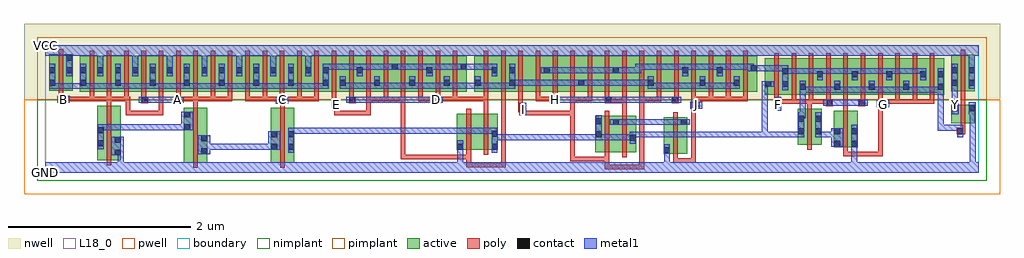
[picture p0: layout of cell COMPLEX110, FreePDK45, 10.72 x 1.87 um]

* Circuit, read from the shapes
.subckt COMPLEX110 A B C D E F G GND H I J VCC Y
M1 GND B n1 VSUBS nfet w=0.6u l=0.05u
M2 n2 A n1 VSUBS nfet w=0.6u l=0.05u
M3 n3 C n2 VSUBS nfet w=0.6u l=0.05u
M4 n4 E GND VSUBS nfet w=0.4u l=0.05u
M5 n3 D n4 VSUBS nfet w=0.4u l=0.05u
M6 n5 I n3 VSUBS nfet w=0.4u l=0.05u
M7 n3 H n5 VSUBS nfet w=0.4u l=0.05u
M8 n5 J GND VSUBS nfet w=0.4u l=0.05u
M9 n6 F n3 VSUBS nfet w=0.4u l=0.05u
M10 GND G n6 VSUBS nfet w=0.4u l=0.05u
M11 GND n3 Y VSUBS nfet w=0.2u l=0.05u
M12 VCC B n7 n8 pfet w=0.4u l=0.05u m=5
M13 n7 A VCC n8 pfet w=0.4u l=0.05u m=5
M14 n7 C VCC n8 pfet w=0.4u l=0.05u m=5
M15 n9 E n7 n8 pfet w=0.4u l=0.05u m=5
M16 n7 D n9 n8 pfet w=0.4u l=0.05u m=5
M17 n10 I n9 n8 pfet w=0.4u l=0.05u
M18 n11 H n10 n8 pfet w=0.4u l=0.05u
M19 n12 H n11 n8 pfet w=0.4u l=0.05u
M20 n9 I n12 n8 pfet w=0.4u l=0.05u
M21 n13 I n9 n8 pfet w=0.4u l=0.05u
M22 n11 H n13 n8 pfet w=0.4u l=0.05u
M23 n14 H n11 n8 pfet w=0.4u l=0.05u
M24 n9 I n14 n8 pfet w=0.4u l=0.05u
M25 n15 I n9 n8 pfet w=0.4u l=0.05u
M26 n11 H n15 n8 pfet w=0.4u l=0.05u
M27 n9 J n11 n8 pfet w=0.4u l=0.05u m=4
M28 n11 F n3 n8 pfet w=0.4u l=0.05u m=5
M29 n11 G n3 n8 pfet w=0.4u l=0.05u m=5
M30 VCC n3 Y n8 pfet w=0.4u l=0.05u
.ends

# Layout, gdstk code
import gdstk
lib = gdstk.Library(unit=1e-6, precision=1e-09)
def R(c, l, rs):  # rectangles x0, y0, x1, y1
    for r in rs: c.add(gdstk.rectangle(r[:2], r[2:], *l))
def A(c, l, x, y, w, h, nx, ny, dx, dy):  # array of equal rectangles
    R(c, l, [(x+i*dx, y+j*dy, x+i*dx+w, y+j*dy+h) for i in range(nx) for j in range(ny)])
active = (1, 0)
pwell = (2, 0)
nwell = (3, 0)
nimplant = (4, 0)
pimplant = (5, 0)
poly = (9, 0)
contact = (10, 0)
metal1 = (11, 0)
L18_0 = (18, 0)
boundary = (235, 0)

complex110 = lib.new_cell('COMPLEX110')
A(complex110, active, 7.9, 0.855, 0.265, 0.4, 8, 1, 0.19, 0)
A(complex110, active, 7.9, 0.855, 0.075, 0.215, 5, 1, 0.38, 0)
A(complex110, active, 8.47, 0.862, 0.075, 0.338, 3, 1, 0.38, 0)
A(complex110, active, 0.38, 0.887, 0.26, 0.4, 4, 1, 0.95, 0)
A(complex110, active, 0.565, 0.887, 0.27, 0.4, 3, 1, 0.95, 0)
A(complex110, active, 0.76, 0.887, 0.265, 0.4, 3, 1, 0.19, 0)
A(complex110, active, 1.71, 0.887, 0.265, 0.4, 3, 1, 0.19, 0)
A(complex110, active, 2.66, 0.887, 0.265, 0.4, 3, 1, 0.19, 0)
A(complex110, active, 3.8, 0.887, 0.265, 0.4, 3, 1, 0.19, 0)
A(complex110, active, 5.09, 0.887, 0.225, 0.4, 3, 1, 0.38, 0)
R(complex110, active, [(1.52,0.112,1.78,0.712), (2.475,0.112,2.735,0.712), (0.57,0.137,0.83,0.737), (0.755,0.137,0.83,0.737), (0.57,0.145,0.645,0.737), (1.52,0.145,1.595,0.712), (1.705,0.145,1.78,0.712), (2.475,0.145,2.55,0.712), (2.66,0.145,2.735,0.712), (6.79,0.21,7.05,0.61), (6.79,0.21,6.865,0.537), (6.04,0.225,6.115,0.625), (6.04,0.225,6.305,0.625), (6.23,0.225,6.49,0.625), (6.415,0.225,6.49,0.617), (4.52,0.25,4.745,0.65), (4.52,0.25,4.595,0.537), (4.745,0.25,4.97,0.65), (4.895,0.25,4.97,0.65), (8.66,0.28,8.735,0.68), (8.66,0.28,8.92,0.68), (8.845,0.28,8.92,0.68), (8.265,0.305,8.34,0.705), (8.265,0.305,8.525,0.705), (8.45,0.305,8.525,0.705), (6.975,0.322,7.05,0.61), (6.23,0.33,6.305,0.625), (9.95,0.545,10.025,0.745), (9.95,0.545,10.21,0.745), (10.135,0.545,10.21,0.745), (8.09,0.855,8.165,1.2), (9.42,0.855,9.68,1.255), (9.605,0.855,9.87,1.255), (9.605,0.855,9.68,1.2), (9.795,0.855,9.87,1.2), (0.38,0.887,0.455,1.2), (0.565,0.887,0.64,1.287), (0.76,0.887,0.835,1.2), (0.95,0.887,1.025,1.287), (1.33,0.887,1.405,1.287), (1.515,0.887,1.59,1.2), (1.71,0.887,1.785,1.267), (1.9,0.887,1.975,1.2), (2.09,0.887,2.165,1.267), (2.28,0.887,2.355,1.2), (2.85,0.887,2.925,1.267), (3.04,0.887,3.115,1.2), (3.23,0.887,3.305,1.07), (3.415,0.887,3.68,1.287), (3.415,0.887,3.49,1.2), (3.605,0.887,3.875,1.287), (3.8,0.887,3.875,1.2), (3.99,0.887,4.065,1.07), (4.18,0.887,4.255,1.2), (4.37,0.887,4.63,1.287), (4.37,0.887,4.445,1.07), (4.555,0.887,4.63,1.2), (4.71,0.887,4.97,1.287), (4.71,0.887,4.785,1.07), (4.895,0.887,4.97,1.2), (4.895,0.887,5.165,1.287), (5.09,0.887,5.165,1.2), (5.315,0.887,5.545,1.287), (5.47,0.887,5.545,1.2), (5.695,0.887,5.925,1.287), (5.85,0.887,5.925,1.07), (6.075,0.887,6.3,1.287), (6.225,0.887,6.455,1.287), (6.455,0.887,6.685,1.287), (6.61,0.887,6.835,1.287), (6.61,0.887,6.685,1.07), (6.835,0.887,7.065,1.287), (6.99,0.887,7.255,1.287), (7.18,0.887,7.445,1.287), (7.18,0.887,7.255,1.07), (7.37,0.887,7.63,1.287), (7.37,0.887,7.445,1.2), (7.555,0.887,7.82,1.287), (7.555,0.887,7.63,1.07), (7.745,0.887,7.82,1.2), (9.95,0.895,10.21,1.295), (9.95,0.895,10.025,1.2), (10.135,0.895,10.21,1.255), (0.04,0.902,0.3,1.302), (0.04,0.902,0.115,1.2), (0.225,0.902,0.3,1.302), (1.14,0.907,1.215,1.2), (2.465,0.907,2.54,1.267), (2.66,0.907,2.735,1.2), (3.605,0.907,3.68,1.07), (6.225,0.907,6.3,1.2), (6.99,0.907,7.065,1.2)])
R(complex110, pwell, [(-0.235,-0.235,10.485,0.8)])
R(complex110, nwell, [(-0.235,0.8,10.485,1.635)])
R(complex110, nimplant, [(-0.09,-0.09,10.34,0.8)])
R(complex110, pimplant, [(-0.09,0.8,10.34,1.49)])
A(complex110, poly, 8.005, 0.755, 0.05, 0.095, 10, 1, 0.19, 0)
A(complex110, poly, 0.485, 0.787, 0.05, 0.095, 4, 1, 0.19, 0)
A(complex110, poly, 1.435, 0.787, 0.05, 0.095, 9, 1, 0.19, 0)
A(complex110, poly, 2.005, 0.787, 0.05, 0.05, 3, 1, 0.19, 0)
A(complex110, poly, 3.335, 0.787, 0.05, 0.095, 7, 1, 0.19, 0)
A(complex110, poly, 5.385, 0.787, 0.05, 0.095, 5, 1, 0.19, 0)
A(complex110, poly, 5.765, 0.787, 0.24, 0.05, 3, 1, 0.76, 0)
A(complex110, poly, 6.525, 0.787, 0.05, 0.095, 7, 1, 0.19, 0)
A(complex110, poly, 8.005, 0.8, 0.05, 0.51, 10, 1, 0.19, 0)
A(complex110, poly, 0.485, 0.832, 0.05, 0.51, 22, 1, 0.19, 0)
A(complex110, poly, 4.815, 0.832, 0.05, 0.51, 16, 1, 0.19, 0)
R(complex110, poly, [(6.145,0.037,6.442,0.087), (6.145,0.037,6.195,0.175), (6.392,0.037,6.442,0.087), (6.392,0.037,6.442,0.087), (6.392,0.037,6.442,0.087), (6.392,0.037,6.575,0.087), (6.525,0.037,6.575,0.087), (6.525,0.037,6.575,0.087), (6.525,0.037,6.575,0.087), (6.525,0.037,6.575,0.837), (1.625,0.057,1.675,0.767), (2.58,0.057,2.63,0.767), (4.625,0.062,4.675,0.112), (4.625,0.062,4.675,0.112), (4.625,0.062,4.922,0.112), (4.625,0.062,4.675,0.2), (4.872,0.062,4.922,0.112), (4.872,0.062,4.922,0.112), (4.872,0.062,4.922,0.112), (4.872,0.062,5.055,0.112), (5.005,0.062,5.055,0.112), (5.005,0.062,5.055,0.112), (5.005,0.062,5.055,0.112), (5.005,0.062,5.055,0.112), (5.005,0.062,5.055,0.112), (5.005,0.062,5.055,0.112), (5.005,0.062,5.055,0.112), (5.005,0.062,5.055,0.112), (5.005,0.062,5.055,0.112), (5.005,0.062,5.055,0.112), (5.005,0.062,5.055,0.112), (5.005,0.062,5.055,0.112), (5.005,0.062,5.055,0.112), (5.005,0.062,5.055,0.882), (0.675,0.082,0.725,0.792), (6.895,0.11,6.945,0.205), (6.895,0.11,6.945,0.16), (6.895,0.11,6.945,0.16), (6.895,0.11,6.945,0.16), (6.895,0.11,7.145,0.16), (7.095,0.11,7.145,0.16), (7.095,0.11,7.145,0.16), (7.095,0.11,7.145,0.16), (7.095,0.11,7.145,0.16), (7.095,0.11,7.145,0.16), (7.095,0.11,7.145,0.16), (7.095,0.11,7.145,0.16), (7.095,0.11,7.145,0.16), (7.095,0.11,7.145,0.16), (7.095,0.11,7.145,0.762), (5.765,0.125,5.815,0.175), (5.765,0.125,6.062,0.175), (5.765,0.125,5.815,0.68), (6.012,0.125,6.062,0.175), (6.012,0.125,6.062,0.175), (6.012,0.125,6.062,0.175), (6.012,0.125,6.195,0.175), (6.145,0.125,6.195,0.22), (6.145,0.125,6.195,0.175), (6.145,0.125,6.195,0.175), (3.905,0.15,3.955,0.2), (3.905,0.15,3.955,0.2), (3.905,0.15,3.955,0.2), (3.905,0.15,4.18,0.2), (3.905,0.15,3.955,0.837), (4.13,0.15,4.18,0.2), (4.13,0.15,4.18,0.2), (4.13,0.15,4.18,0.2), (4.13,0.15,4.18,0.2), (4.13,0.15,4.18,0.2), (4.13,0.15,4.392,0.2), (4.342,0.15,4.392,0.2), (4.342,0.15,4.392,0.2), (4.342,0.15,4.392,0.2), (4.342,0.15,4.392,0.2), (4.342,0.15,4.392,0.2), (4.342,0.15,4.525,0.2), (4.475,0.15,4.525,0.2), (4.475,0.15,4.675,0.2), (4.625,0.15,4.675,0.245), (6.895,0.155,6.945,0.665), (6.145,0.17,6.195,0.68), (6.335,0.17,6.385,0.68), (8.765,0.18,8.815,0.275), (8.765,0.18,8.815,0.23), (8.765,0.18,8.815,0.23), (8.765,0.18,8.815,0.23), (8.765,0.18,9.062,0.23), (9.012,0.18,9.062,0.23), (9.012,0.18,9.062,0.23), (9.012,0.18,9.062,0.23), (9.012,0.18,9.195,0.23), (9.145,0.18,9.195,0.23), (9.145,0.18,9.195,0.23), (9.145,0.18,9.195,0.23), (9.145,0.18,9.195,0.23), (9.145,0.18,9.195,0.23), (9.145,0.18,9.195,0.23), (9.145,0.18,9.195,0.23), (9.145,0.18,9.195,0.775), (4.625,0.195,4.675,0.705), (4.815,0.195,4.865,0.705), (8.765,0.225,8.815,0.735), (8.37,0.25,8.42,0.76), (10.01,0.42,10.105,0.495), (10.055,0.445,10.105,0.54), (10.055,0.49,10.105,0.8), (0.88,0.63,0.93,0.68), (0.88,0.63,0.93,0.837), (0.88,0.63,1.162,0.68), (1.112,0.63,1.162,0.68), (1.112,0.63,1.162,0.68), (1.112,0.63,1.162,0.68), (1.112,0.63,1.295,0.68), (1.245,0.63,1.295,0.68), (1.245,0.63,1.295,0.68), (1.245,0.63,1.295,0.68), (1.245,0.63,1.295,0.68), (1.245,0.63,1.295,0.68), (1.245,0.63,1.295,0.68), (1.245,0.63,1.295,0.68), (1.245,0.63,1.295,0.882), (3.172,0.63,3.222,0.68), (3.172,0.63,3.222,0.68), (3.172,0.63,3.222,0.68), (3.172,0.63,3.355,0.68), (3.172,0.63,3.222,0.762), (3.305,0.63,3.355,0.68), (3.305,0.63,3.355,0.68), (3.305,0.63,3.355,0.68), (3.305,0.63,3.575,0.68), (3.525,0.63,3.575,0.68), (3.525,0.63,3.575,0.68), (3.525,0.63,3.575,0.68), (3.525,0.63,3.575,0.837), (5.222,0.63,5.272,0.68), (5.222,0.63,5.272,0.68), (5.222,0.63,5.272,0.68), (5.222,0.63,5.405,0.68), (5.222,0.63,5.272,0.712), (5.355,0.63,5.405,0.68), (5.355,0.63,5.567,0.68), (5.517,0.63,5.567,0.68), (5.517,0.63,5.567,0.68), (5.517,0.63,5.567,0.68), (5.517,0.63,5.815,0.68), (5.765,0.63,5.815,0.68), (5.765,0.63,5.815,0.68), (5.765,0.63,5.815,0.68), (5.765,0.63,5.815,0.68), (5.765,0.63,5.815,0.68), (5.765,0.63,5.815,0.68), (5.765,0.63,5.815,0.68), (5.765,0.63,5.815,0.837), (6.335,0.63,6.385,0.812), (4.815,0.655,4.865,0.837), (5.195,0.662,5.272,0.737), (5.222,0.662,5.272,0.712), (5.222,0.662,5.272,0.712), (8.765,0.685,8.815,0.805), (5.195,0.687,5.245,0.882), (8.37,0.71,8.42,0.805), (3.145,0.712,3.222,0.787), (7.095,0.712,7.187,0.837), (1.625,0.717,1.675,0.837), (2.58,0.717,2.63,0.812), (9.145,0.725,9.195,0.775), (9.145,0.725,9.195,0.775), (9.145,0.725,9.237,0.805), (8.005,0.73,8.085,0.805), (8.575,0.73,8.65,0.805), (8.93,0.73,9.005,0.805), (3.145,0.737,3.195,0.882), (0.675,0.742,0.725,0.837), (10.055,0.75,10.105,0.845), (8.035,0.755,8.085,0.805), (8.035,0.755,8.085,0.805), (8.035,0.755,8.245,0.805), (8.195,0.755,8.245,0.805), (8.195,0.755,8.42,0.805), (8.37,0.755,8.42,0.805), (8.37,0.755,8.42,0.805), (8.37,0.755,8.435,0.805), (8.385,0.755,8.625,0.805), (8.575,0.755,8.625,0.805), (8.575,0.755,8.625,0.805), (8.765,0.755,8.815,0.805), (9.187,0.755,9.385,0.805), (9.335,0.755,9.385,0.805), (9.335,0.755,9.385,0.805), (9.335,0.755,9.385,0.805), (9.335,0.755,9.575,0.805), (9.525,0.755,9.575,0.805), (9.525,0.755,9.575,0.805), (9.525,0.755,9.575,0.805), (9.525,0.755,9.765,0.805), (9.715,0.755,9.765,0.805), (9.715,0.755,9.765,0.805), (9.715,0.755,9.765,0.805), (1.055,0.762,1.13,0.837), (1.412,0.762,1.487,0.837), (2.562,0.762,2.637,0.837), (3.335,0.762,3.41,0.837), (4.262,0.762,4.337,0.837), (5.562,0.762,5.637,0.837), (6.145,0.762,6.222,0.837), (6.172,0.762,6.385,0.812), (6.335,0.762,6.385,0.812), (6.335,0.762,6.385,0.812), (6.335,0.762,6.385,0.812), (6.335,0.762,6.385,0.882), (6.88,0.762,6.955,0.837), (0.145,0.775,0.237,0.85), (0.187,0.787,0.237,0.837), (0.187,0.787,0.237,0.837), (0.187,0.787,0.535,0.837), (0.485,0.787,0.535,0.837), (0.485,0.787,0.535,0.837), (0.485,0.787,0.535,0.837), (0.485,0.787,0.725,0.837), (0.675,0.787,0.725,0.837), (0.675,0.787,0.725,0.837), (0.675,0.787,0.725,0.837), (0.675,0.787,0.915,0.837), (0.865,0.787,0.915,0.837), (0.865,0.787,0.915,0.837), (0.865,0.787,0.915,0.837), (0.865,0.787,0.915,0.837), (0.865,0.787,0.93,0.837), (1.437,0.787,1.487,0.837), (1.437,0.787,1.487,0.837), (1.437,0.787,1.675,0.837), (1.625,0.787,1.675,0.837), (1.625,0.787,1.865,0.837), (1.815,0.787,1.865,0.837), (1.815,0.787,1.865,0.837), (1.815,0.787,1.865,0.837), (1.815,0.787,2.055,0.837), (2.005,0.787,2.055,0.837), (2.005,0.787,2.055,0.837), (2.195,0.787,2.435,0.837), (2.385,0.787,2.435,0.837), (2.385,0.787,2.435,0.837), (2.385,0.787,2.612,0.837), (2.562,0.787,2.612,0.837), (2.562,0.787,2.612,0.837), (2.587,0.787,2.815,0.837), (2.765,0.787,2.815,0.837), (2.765,0.787,2.815,0.837), (2.765,0.787,2.815,0.837), (2.765,0.787,3.005,0.837), (2.955,0.787,3.005,0.837), (2.955,0.787,3.005,0.837), (2.955,0.787,3.005,0.837), (3.525,0.787,3.575,0.837), (3.525,0.787,3.575,0.837), (3.525,0.787,3.575,0.837), (3.525,0.787,3.765,0.837), (3.715,0.787,3.765,0.837), (3.715,0.787,3.765,0.837), (3.715,0.787,3.765,0.837), (3.715,0.787,3.955,0.837), (3.905,0.787,3.955,0.837), (3.905,0.787,3.955,0.837), (3.905,0.787,3.955,0.837), (3.905,0.787,3.955,0.837), (3.905,0.787,3.955,0.837), (4.095,0.787,4.145,0.837), (4.095,0.787,4.312,0.837), (4.262,0.787,4.312,0.837), (4.262,0.787,4.312,0.837), (4.287,0.787,4.525,0.837), (4.475,0.787,4.525,0.837), (4.475,0.787,4.525,0.837), (4.475,0.787,4.525,0.837), (4.475,0.787,4.732,0.837), (4.682,0.787,4.732,0.837), (4.682,0.787,4.865,0.837), (4.815,0.787,4.865,0.882), (4.815,0.787,4.865,0.837), (4.815,0.787,4.865,0.837), (4.815,0.787,4.865,0.837), (5.385,0.787,5.435,0.837), (5.385,0.787,5.612,0.837), (5.562,0.787,5.612,0.837), (5.562,0.787,5.612,0.837), (5.765,0.787,5.815,0.837), (5.765,0.787,5.815,0.837), (5.765,0.787,5.815,0.837), (5.955,0.787,6.005,0.837), (5.955,0.787,6.005,0.837), (5.955,0.787,6.005,0.837), (6.525,0.787,6.575,0.837), (6.525,0.787,6.575,0.837), (6.525,0.787,6.575,0.837), (6.525,0.787,6.575,0.837), (6.525,0.787,6.575,0.837), (6.525,0.787,6.575,0.837), (6.525,0.787,6.575,0.837), (6.525,0.787,6.575,0.837), (6.525,0.787,6.575,0.837), (6.715,0.787,6.765,0.837), (6.715,0.787,6.765,0.837), (6.715,0.787,6.765,0.837), (7.137,0.787,7.335,0.837), (7.285,0.787,7.335,0.837), (7.285,0.787,7.335,0.837), (7.285,0.787,7.335,0.837), (7.475,0.787,7.525,0.837), (7.475,0.787,7.525,0.837), (7.475,0.787,7.525,0.837), (7.475,0.787,7.715,0.837), (7.665,0.787,7.715,0.837), (7.665,0.787,7.715,0.837), (7.665,0.787,7.715,0.837), (10.055,0.795,10.105,0.89), (10.055,0.795,10.105,0.845), (0.145,0.8,0.195,0.897), (10.055,0.84,10.105,1.35), (0.145,0.847,0.195,1.357)])
A(complex110, contact, 8.285, 0.912, 0.065, 0.065, 4, 1, 0.38, 0)
A(complex110, contact, 0.385, 0.955, 0.065, 0.065, 3, 1, 0.38, 0)
A(complex110, contact, 1.905, 0.955, 0.065, 0.065, 4, 1, 0.38, 0)
A(complex110, contact, 8.475, 1.05, 0.065, 0.065, 3, 1, 0.38, 0)
A(complex110, contact, 0.765, 1.095, 0.065, 0.065, 4, 1, 0.19, 0)
A(complex110, contact, 1.715, 1.095, 0.065, 0.065, 4, 1, 0.19, 0)
A(complex110, contact, 2.665, 1.095, 0.065, 0.065, 3, 1, 0.19, 0)
R(complex110, contact, [(0.76,0.19,0.825,0.255), (1.71,0.205,1.775,0.27), (6.795,0.215,6.86,0.28), (2.48,0.252,2.545,0.317), (2.665,0.252,2.73,0.317), (4.525,0.255,4.59,0.32), (4.9,0.255,4.965,0.32), (8.665,0.285,8.73,0.35), (8.85,0.285,8.915,0.35), (0.575,0.292,0.64,0.357), (0.76,0.33,0.825,0.395), (1.71,0.345,1.775,0.41), (6.42,0.352,6.485,0.417), (2.48,0.392,2.545,0.457), (2.665,0.392,2.73,0.457), (6.045,0.392,6.11,0.457), (4.9,0.395,4.965,0.46), (8.27,0.422,8.335,0.487), (8.455,0.422,8.52,0.487), (8.665,0.425,8.73,0.49), (8.85,0.425,8.915,0.49), (10.015,0.425,10.08,0.49), (0.575,0.432,0.64,0.497), (1.525,0.467,1.59,0.532), (6.235,0.525,6.3,0.59), (6.98,0.525,7.045,0.59), (6.045,0.532,6.11,0.597), (8.27,0.562,8.335,0.627), (8.455,0.562,8.52,0.627), (1.525,0.607,1.59,0.672), (5.202,0.667,5.267,0.732), (9.955,0.675,10.02,0.74), (10.14,0.675,10.205,0.74), (3.152,0.717,3.217,0.782), (7.117,0.717,7.182,0.782), (9.167,0.73,9.232,0.795), (8.015,0.735,8.08,0.8), (8.58,0.735,8.645,0.8), (8.935,0.735,9,0.8), (1.06,0.767,1.125,0.832), (1.417,0.767,1.482,0.832), (2.567,0.767,2.632,0.832), (3.34,0.767,3.405,0.832), (4.267,0.767,4.332,0.832), (5.567,0.767,5.632,0.832), (6.152,0.767,6.217,0.832), (6.885,0.767,6.95,0.832), (0.167,0.78,0.232,0.845), (9.8,0.91,9.865,0.975), (7.905,0.942,7.97,1.007), (8.095,0.942,8.16,1.007), (0.045,0.955,0.11,1.02), (1.52,0.955,1.585,1.02), (5.095,0.955,5.16,1.02), (9.955,0.955,10.02,1.02), (10.14,0.955,10.205,1.02), (3.235,0.957,3.3,1.022), (3.61,0.957,3.675,1.022), (3.995,0.957,4.06,1.022), (4.375,0.957,4.44,1.022), (4.715,0.957,4.78,1.022), (5.855,0.957,5.92,1.022), (6.615,0.957,6.68,1.022), (7.185,0.957,7.25,1.022), (7.56,0.957,7.625,1.022), (9.61,1.05,9.675,1.115), (9.8,1.05,9.865,1.115), (8.095,1.082,8.16,1.147), (0.23,1.092,0.295,1.157), (0.045,1.095,0.11,1.16), (0.385,1.095,0.45,1.16), (0.57,1.095,0.635,1.16), (1.52,1.095,1.585,1.16), (2.47,1.095,2.535,1.16), (3.42,1.095,3.485,1.16), (4.185,1.095,4.25,1.16), (4.9,1.095,4.965,1.16), (5.095,1.095,5.16,1.16), (5.475,1.095,5.54,1.16), (6.23,1.095,6.295,1.16), (6.995,1.095,7.06,1.16), (7.375,1.095,7.44,1.16), (9.955,1.095,10.02,1.16), (10.14,1.095,10.205,1.16), (7.75,1.117,7.815,1.182), (3.805,1.13,3.87,1.195), (4.56,1.13,4.625,1.195), (0.23,1.232,0.295,1.297)])
A(complex110, metal1, 6.187, 0.767, 0.065, 0.065, 3, 1, 0.145, 0)
A(complex110, metal1, 8.285, 0.877, 0.065, 0.135, 4, 1, 0.38, 0)
A(complex110, metal1, 0.385, 0.92, 0.065, 0.275, 3, 1, 0.38, 0)
A(complex110, metal1, 1.905, 0.92, 0.065, 0.275, 4, 1, 0.38, 0)
A(complex110, metal1, 8.475, 1.015, 0.065, 0.135, 3, 1, 0.38, 0)
A(complex110, metal1, 0.955, 1.06, 0.065, 0.135, 4, 1, 0.38, 0)
A(complex110, metal1, 0.955, 1.13, 0.065, 0.22, 4, 1, 0.38, 0)
R(complex110, metal1, [(0,0,10.25,0.115), (0.795,0.05,0.86,0.115), (0.795,0.05,0.86,0.115), (0.795,0.05,0.86,0.255), (4.525,0.05,4.59,0.115), (4.525,0.05,4.59,0.115), (4.525,0.05,4.59,0.115), (4.525,0.05,4.59,0.285), (6.795,0.05,6.86,0.115), (6.795,0.05,6.86,0.115), (6.795,0.05,6.86,0.115), (6.795,0.05,6.86,0.245), (8.85,0.05,8.915,0.315), (10.152,0.05,10.217,0.705), (10.152,0.05,10.217,0.115), (10.152,0.05,10.217,0.115), (10.152,0.05,10.217,0.115), (10.152,0.05,10.217,0.115), (10.152,0.05,10.217,0.115), (10.152,0.05,10.217,0.115), (10.152,0.05,10.217,0.115), (10.152,0.05,10.217,0.115), (6.795,0.18,6.86,0.245), (6.795,0.18,6.86,0.315), (0.725,0.19,0.86,0.395), (1.675,0.205,1.81,0.41), (2.665,0.217,2.73,0.492), (4.525,0.22,4.59,0.285), (4.525,0.22,4.59,0.355), (4.9,0.22,4.965,0.495), (8.85,0.25,8.915,0.525), (8.85,0.25,8.915,0.315), (8.85,0.25,8.915,0.315), (8.85,0.25,8.915,0.315), (8.85,0.25,8.915,0.315), (1.745,0.252,1.83,0.317), (1.765,0.252,1.83,0.317), (1.765,0.252,2.022,0.317), (1.957,0.252,2.022,0.317), (1.957,0.252,2.022,0.317), (1.957,0.252,2.022,0.317), (1.957,0.252,2.212,0.317), (2.147,0.252,2.212,0.317), (2.147,0.252,2.212,0.317), (2.147,0.252,2.212,0.317), (2.147,0.252,2.35,0.317), (2.285,0.252,2.35,0.317), (2.285,0.252,2.35,0.317), (2.285,0.252,2.35,0.317), (2.285,0.252,2.51,0.317), (2.445,0.252,2.58,0.457), (0.575,0.257,0.64,0.532), (8.63,0.285,8.765,0.49), (6.42,0.317,6.485,0.452), (4.9,0.357,5.13,0.422), (5.065,0.357,5.13,0.422), (5.065,0.357,5.13,0.422), (5.065,0.357,5.13,0.422), (5.065,0.357,5.282,0.422), (5.217,0.357,5.282,0.422), (5.217,0.357,5.367,0.422), (5.302,0.357,5.367,0.422), (5.302,0.357,5.437,0.422), (5.372,0.357,5.437,0.422), (5.372,0.357,5.61,0.422), (5.545,0.357,5.61,0.422), (5.545,0.357,5.61,0.422), (5.545,0.357,5.61,0.422), (5.545,0.357,5.747,0.422), (5.682,0.357,5.747,0.422), (5.682,0.357,5.907,0.422), (5.842,0.357,5.907,0.422), (5.842,0.357,5.907,0.422), (5.842,0.357,5.907,0.422), (5.842,0.357,6.045,0.422), (5.98,0.357,6.045,0.422), (5.98,0.357,6.11,0.422), (6.045,0.357,6.11,0.632), (6.045,0.357,6.247,0.422), (6.182,0.357,6.247,0.422), (6.182,0.357,6.247,0.422), (6.182,0.357,6.247,0.422), (6.182,0.357,6.397,0.422), (6.332,0.357,6.397,0.422), (6.332,0.357,6.485,0.422), (6.42,0.387,6.485,0.452), (6.42,0.387,6.485,0.452), (6.42,0.387,6.535,0.452), (6.47,0.387,6.535,0.452), (6.47,0.387,6.722,0.452), (6.657,0.387,6.722,0.452), (6.657,0.387,6.722,0.452), (6.657,0.387,6.722,0.452), (6.657,0.387,6.872,0.452), (6.807,0.387,6.872,0.452), (6.807,0.387,6.872,0.452), (6.807,0.387,6.872,0.452), (6.807,0.387,7.06,0.452), (6.995,0.387,7.06,0.452), (6.995,0.387,7.197,0.452), (7.132,0.387,7.197,0.452), (7.132,0.387,7.197,0.452), (7.132,0.387,7.197,0.452), (7.132,0.387,7.39,0.452), (7.325,0.387,7.39,0.452), (7.325,0.387,7.39,0.452), (7.325,0.387,7.39,0.452), (7.325,0.387,7.642,0.452), (7.577,0.387,7.642,0.452), (7.577,0.387,7.642,0.452), (7.577,0.387,7.642,0.452), (7.577,0.387,7.797,0.452), (7.732,0.387,7.797,0.452), (7.732,0.387,7.935,0.452), (7.87,0.387,7.935,0.452), (7.87,0.387,7.935,0.452), (7.87,0.387,7.935,0.452), (7.87,0.387,8.072,0.452), (7.87,0.387,7.935,1.007), (8.007,0.387,8.072,0.452), (8.007,0.387,8.072,0.452), (8.007,0.387,8.072,0.452), (8.007,0.387,8.21,0.452), (8.145,0.387,8.21,0.452), (8.145,0.387,8.335,0.452), (8.27,0.387,8.335,0.662), (8.455,0.387,8.52,0.662), (8.455,0.387,8.52,0.452), (8.455,0.387,8.52,0.452), (8.455,0.387,8.695,0.452), (10.015,0.39,10.08,0.525), (2.665,0.427,2.867,0.492), (2.802,0.427,2.867,0.492), (2.802,0.427,2.867,0.492), (2.802,0.427,2.867,0.492), (2.802,0.427,3.025,0.492), (2.96,0.427,3.025,0.492), (2.96,0.427,3.025,0.492), (2.96,0.427,3.025,0.492), (2.96,0.427,3.162,0.492), (3.097,0.427,3.162,0.492), (3.097,0.427,3.3,0.492), (3.235,0.427,3.3,0.492), (3.235,0.427,3.3,0.492), (3.235,0.427,3.3,0.492), (3.235,0.427,3.437,0.492), (3.372,0.427,3.437,0.492), (3.372,0.427,3.675,0.492), (3.61,0.427,3.675,0.492), (3.61,0.427,3.675,0.492), (3.61,0.427,3.675,0.492), (3.61,0.427,3.835,0.492), (3.77,0.427,3.835,0.492), (3.77,0.427,3.922,0.492), (3.857,0.427,3.922,0.492), (3.857,0.427,3.975,0.492), (3.91,0.427,3.975,0.492), (3.91,0.427,4.112,0.492), (4.047,0.427,4.112,0.492), (4.047,0.427,4.112,0.492), (4.047,0.427,4.112,0.492), (4.047,0.427,4.302,0.492), (4.237,0.427,4.302,0.492), (4.237,0.427,4.302,0.492), (4.237,0.427,4.302,0.492), (4.237,0.427,4.44,0.492), (4.375,0.427,4.44,0.492), (4.375,0.427,4.642,0.492), (4.577,0.427,4.642,0.492), (4.577,0.427,4.78,0.492), (4.715,0.427,4.78,0.492), (4.715,0.427,4.78,0.492), (4.715,0.427,4.78,0.492), (4.715,0.427,4.965,0.492), (4.9,0.427,4.965,0.492), (4.9,0.427,4.965,0.492), (9.8,0.46,9.865,0.525), (9.8,0.46,9.865,0.525), (9.8,0.46,9.865,0.525), (9.8,0.46,9.865,0.525), (9.8,0.46,9.865,0.525), (9.8,0.46,9.865,0.525), (9.8,0.46,9.865,0.525), (9.8,0.46,10.002,0.525), (9.8,0.46,9.865,0.94), (9.937,0.46,10.002,0.525), (9.937,0.46,10.08,0.525), (0.575,0.467,0.64,0.532), (0.575,0.467,0.64,0.532), (0.575,0.467,0.83,0.532), (0.765,0.467,0.83,0.532), (0.765,0.467,0.83,0.532), (0.765,0.467,0.83,0.532), (0.765,0.467,0.997,0.532), (0.932,0.467,0.997,0.532), (0.932,0.467,0.997,0.532), (0.932,0.467,0.997,0.532), (0.932,0.467,1.135,0.532), (1.07,0.467,1.135,0.532), (1.07,0.467,1.31,0.532), (1.245,0.467,1.31,0.532), (1.245,0.467,1.347,0.532), (1.282,0.467,1.347,0.532), (1.282,0.467,1.555,0.532), (1.49,0.467,1.555,0.532), (1.49,0.467,1.555,0.532), (1.49,0.467,1.625,0.672), (6.2,0.525,6.335,0.59), (6.27,0.525,6.397,0.59), (6.332,0.525,6.397,0.59), (6.332,0.525,6.542,0.59), (6.477,0.525,6.542,0.59), (6.477,0.525,6.542,0.59), (6.477,0.525,6.542,0.59), (6.477,0.525,6.68,0.59), (6.615,0.525,6.68,0.59), (6.615,0.525,6.68,0.59), (6.615,0.525,6.68,0.59), (6.615,0.525,6.872,0.59), (6.807,0.525,6.872,0.59), (6.807,0.525,7.01,0.59), (6.945,0.525,7.01,0.59), (6.945,0.525,7.01,0.59), (6.945,0.525,7.08,0.59), (8.27,0.597,8.335,0.662), (8.27,0.597,8.35,0.662), (8.285,0.597,8.35,0.942), (5.202,0.632,5.282,0.767), (9.955,0.64,10.032,0.817), (10.14,0.64,10.217,0.775), (3.152,0.682,3.232,0.817), (8.015,0.682,8.082,0.835), (7.082,0.705,7.217,0.782), (9.132,0.717,9.267,0.795), (8.545,0.735,8.68,0.8), (8.615,0.735,8.68,0.8), (8.615,0.735,8.68,0.8), (8.615,0.735,8.817,0.8), (8.752,0.735,8.817,0.8), (8.752,0.735,8.965,0.8), (8.9,0.735,8.965,0.8), (8.9,0.735,8.965,0.8), (8.9,0.735,9.035,0.8), (9.955,0.752,10.02,0.985), (2.532,0.755,2.667,0.832), (0.132,0.767,0.267,0.845), (1.025,0.767,1.16,0.832), (1.095,0.767,1.16,0.832), (1.095,0.767,1.16,0.832), (1.095,0.767,1.31,0.832), (1.245,0.767,1.31,0.832), (1.245,0.767,1.382,0.832), (1.317,0.767,1.382,0.832), (1.317,0.767,1.447,0.832), (1.382,0.767,1.517,0.832), (3.305,0.767,3.44,0.832), (3.375,0.767,3.44,0.832), (3.375,0.767,3.44,0.832), (3.375,0.767,3.675,0.832), (3.61,0.767,3.675,0.832), (3.61,0.767,3.675,0.832), (3.61,0.767,3.675,0.832), (3.61,0.767,3.812,0.832), (3.747,0.767,3.812,0.832), (3.747,0.767,3.812,0.832), (3.747,0.767,3.812,0.832), (3.747,0.767,3.975,0.832), (3.91,0.767,3.975,0.832), (3.91,0.767,4.112,0.832), (4.047,0.767,4.112,0.832), (4.047,0.767,4.112,0.832), (4.047,0.767,4.112,0.832), (4.047,0.767,4.297,0.832), (4.232,0.767,4.297,0.832), (4.232,0.767,4.297,0.832), (4.232,0.767,4.367,0.832), (5.532,0.767,5.667,0.832), (5.602,0.767,5.747,0.832), (5.682,0.767,5.747,0.832), (5.682,0.767,5.907,0.832), (5.842,0.767,5.907,0.832), (5.842,0.767,5.907,0.832), (5.842,0.767,5.907,0.832), (5.842,0.767,6.045,0.832), (5.98,0.767,6.045,0.832), (5.98,0.767,6.092,0.832), (6.027,0.767,6.092,0.832), (6.027,0.767,6.182,0.832), (6.117,0.767,6.252,0.832), (6.187,0.767,6.252,0.832), (6.187,0.767,6.397,0.832), (6.332,0.767,6.542,0.832), (6.477,0.767,6.542,0.832), (6.477,0.767,6.542,0.832), (6.477,0.767,6.68,0.832), (6.615,0.767,6.68,0.832), (6.615,0.767,6.68,0.832), (6.615,0.767,6.68,0.832), (6.615,0.767,6.872,0.832), (6.807,0.767,6.872,0.832), (6.807,0.767,6.915,0.832), (6.85,0.767,6.985,0.832), (9.8,0.875,9.865,1.15), (8.285,0.877,8.35,0.942), (8.285,0.877,8.35,0.942), (8.285,0.877,8.35,0.942), (8.285,0.877,8.35,0.942), (8.285,0.877,8.487,0.942), (8.422,0.877,8.487,0.942), (8.422,0.877,8.487,0.942), (8.422,0.877,8.487,0.942), (8.422,0.877,8.73,0.942), (8.665,0.877,8.817,0.942), (8.752,0.877,8.817,0.942), (8.752,0.877,8.972,0.942), (8.907,0.877,8.972,0.942), (8.907,0.877,8.972,0.942), (8.907,0.877,8.972,0.942), (8.907,0.877,9.11,0.942), (9.045,0.877,9.3,0.942), (9.235,0.877,9.3,0.942), (9.235,0.877,9.3,0.942), (9.235,0.877,9.3,0.942), (9.235,0.877,9.49,0.942), (9.425,0.877,9.49,0.942), (9.425,0.877,9.49,0.942), (9.425,0.877,9.727,0.942), (9.662,0.877,9.727,0.942), (9.662,0.877,9.727,0.942), (9.662,0.877,9.727,0.942), (9.662,0.877,9.865,0.942), (9.8,0.877,9.865,0.942), (9.8,0.877,9.865,0.942), (8.095,0.907,8.16,1.182), (0.045,0.92,0.11,1.195), (0.045,0.92,0.11,0.985), (0.045,0.92,0.11,0.985), (0.045,0.92,0.247,0.985), (0.182,0.92,0.247,0.985), (0.182,0.92,0.45,0.985), (0.385,0.92,0.45,0.985), (0.385,0.92,0.45,0.985), (0.385,0.92,0.652,0.985), (0.587,0.92,0.652,0.985), (0.587,0.92,0.652,0.985), (0.587,0.92,0.652,0.985), (0.587,0.92,0.83,0.985), (0.765,0.92,0.83,0.985), (0.765,0.92,0.83,0.985), (0.765,0.92,0.967,0.985), (0.902,0.92,0.967,0.985), (0.902,0.92,0.967,0.985), (0.902,0.92,0.967,0.985), (0.902,0.92,1.21,0.985), (1.145,0.92,1.297,0.985), (1.232,0.92,1.297,0.985), (1.232,0.92,1.347,0.985), (1.282,0.92,1.347,0.985), (1.282,0.92,1.447,0.985), (1.382,0.92,1.447,0.985), (1.382,0.92,1.585,0.985), (1.52,0.92,1.585,1.195), (1.52,0.92,1.692,0.985), (1.627,0.92,1.692,0.985), (1.627,0.92,1.83,0.985), (1.765,0.92,1.83,0.985), (1.765,0.92,1.83,0.985), (1.765,0.92,1.83,0.985), (1.765,0.92,1.97,0.985), (1.905,0.92,1.97,0.985), (1.905,0.92,1.97,0.985), (1.905,0.92,2.212,0.985), (2.147,0.92,2.212,0.985), (2.147,0.92,2.212,0.985), (2.147,0.92,2.212,0.985), (2.147,0.92,2.35,0.985), (2.285,0.92,2.35,0.985), (2.285,0.92,2.35,0.985), (2.285,0.92,2.592,0.985), (2.527,0.92,2.592,0.985), (2.527,0.92,2.592,0.985), (2.527,0.92,2.592,0.985), (2.527,0.92,2.73,0.985), (2.665,0.92,2.73,0.985), (2.665,0.92,2.73,0.985), (2.665,0.92,2.867,0.985), (2.802,0.92,2.867,0.985), (2.802,0.92,3.005,0.985), (2.94,0.92,3.005,0.985), (2.94,0.92,3.11,0.985), (5.095,0.92,5.16,1.195), (9.955,0.92,10.02,1.195), (9.955,0.92,10.02,0.985), (9.955,0.92,10.02,0.985), (10.14,0.92,10.205,1.195), (3.235,0.922,3.3,1.057), (3.235,0.922,3.437,0.987), (3.372,0.922,3.437,0.987), (3.372,0.922,3.437,0.987), (3.372,0.922,3.437,0.987), (3.372,0.922,3.675,0.987), (3.61,0.922,3.675,0.987), (3.61,0.922,3.675,0.987), (3.61,0.922,3.675,1.057), (3.61,0.922,3.812,0.987), (3.747,0.922,3.812,0.987), (3.747,0.922,3.812,0.987), (3.747,0.922,3.812,0.987), (3.747,0.922,3.975,0.987), (3.91,0.922,3.975,0.987), (3.91,0.922,4.06,0.987), (3.995,0.922,4.06,1.057), (3.995,0.922,4.112,0.987), (4.047,0.922,4.112,0.987), (4.047,0.922,4.302,0.987), (4.237,0.922,4.302,0.987), (4.237,0.922,4.302,0.987), (4.237,0.922,4.302,0.987), (4.237,0.922,4.44,0.987), (4.375,0.922,4.44,0.987), (4.375,0.922,4.44,0.987), (4.375,0.922,4.44,1.057), (4.375,0.922,4.78,0.987), (4.715,0.922,4.78,0.987), (4.715,0.922,4.78,0.987), (4.715,0.922,4.78,1.057), (4.715,0.922,4.992,0.987), (4.927,0.922,4.992,0.987), (4.927,0.922,4.992,0.987), (4.927,0.922,4.992,0.987), (4.927,0.922,5.13,0.987), (5.065,0.922,5.13,0.987), (5.065,0.922,5.16,0.987), (6.615,0.922,6.68,0.987), (6.615,0.922,6.68,0.987), (6.615,0.922,6.68,1.057), (6.615,0.922,6.872,0.987), (6.807,0.922,6.872,0.987), (6.807,0.922,7.01,0.987), (6.945,0.922,7.01,0.987), (6.945,0.922,7.01,0.987), (6.945,0.922,7.01,0.987), (6.945,0.922,7.25,0.987), (7.185,0.922,7.25,0.987), (7.185,0.922,7.25,0.987), (7.185,0.922,7.25,1.057), (7.185,0.922,7.44,0.987), (7.375,0.922,7.44,0.987), (7.375,0.922,7.44,0.987), (7.375,0.922,7.44,0.987), (7.375,0.922,7.625,0.987), (7.56,0.922,7.625,0.987), (7.56,0.922,7.625,0.987), (7.56,0.922,7.625,1.057), (7.87,0.942,7.935,1.007), (7.87,0.942,7.935,1.007), (7.87,0.942,7.935,1.007), (7.87,0.942,7.935,1.007), (7.87,0.942,8.005,1.007), (5.095,0.957,5.282,1.022), (5.217,0.957,5.282,1.022), (5.217,0.957,5.367,1.022), (5.302,0.957,5.367,1.022), (5.302,0.957,5.42,1.022), (5.355,0.957,5.42,1.022), (5.355,0.957,5.61,1.022), (5.545,0.957,5.61,1.022), (5.545,0.957,5.747,1.022), (5.682,0.957,5.747,1.022), (5.682,0.957,5.747,1.022), (5.682,0.957,5.747,1.022), (5.682,0.957,5.885,1.022), (5.82,0.957,5.885,1.022), (5.82,0.957,5.885,1.022), (5.82,0.957,5.955,1.022), (5.89,0.957,6.045,1.022), (5.98,0.957,6.045,1.022), (5.98,0.957,6.092,1.022), (6.027,0.957,6.092,1.022), (6.027,0.957,6.26,1.022), (6.195,0.957,6.26,1.022), (6.195,0.957,6.26,1.022), (6.195,0.957,6.26,1.022), (6.195,0.957,6.397,1.022), (6.332,0.957,6.397,1.022), (6.332,0.957,6.542,1.022), (6.477,0.957,6.542,1.022), (6.477,0.957,6.542,1.022), (6.477,0.957,6.542,1.022), (6.477,0.957,6.68,1.022), (9.61,1.015,9.675,1.15), (0.23,1.057,0.295,1.332), (0.57,1.06,0.635,1.195), (2.47,1.06,2.535,1.195), (2.855,1.06,2.92,1.195), (3.42,1.06,3.485,1.195), (4.185,1.06,4.252,1.195), (4.9,1.06,4.965,1.195), (6.995,1.06,7.06,1.195), (7.375,1.06,7.44,1.195), (8.095,1.085,8.21,1.15), (8.145,1.085,8.21,1.15), (8.145,1.085,8.35,1.15), (8.285,1.085,8.35,1.15), (8.285,1.085,8.35,1.15), (8.285,1.085,8.35,1.15), (8.285,1.085,8.54,1.15), (8.475,1.085,8.54,1.15), (8.475,1.085,8.54,1.15), (8.475,1.085,8.677,1.15), (8.612,1.085,8.677,1.15), (8.612,1.085,8.817,1.15), (8.752,1.085,8.817,1.15), (8.752,1.085,8.92,1.15), (8.855,1.085,8.972,1.15), (8.907,1.085,8.972,1.15), (8.907,1.085,9.162,1.15), (9.097,1.085,9.162,1.15), (9.097,1.085,9.162,1.15), (9.097,1.085,9.162,1.15), (9.097,1.085,9.3,1.15), (9.235,1.085,9.537,1.15), (9.472,1.085,9.537,1.15), (9.472,1.085,9.537,1.15), (9.472,1.085,9.537,1.15), (9.472,1.085,9.675,1.15), (9.61,1.085,9.675,1.15), (9.61,1.085,9.675,1.15), (5.44,1.095,5.575,1.16), (5.51,1.095,5.575,1.16), (5.51,1.095,5.575,1.16), (5.51,1.095,5.747,1.16), (5.682,1.095,5.747,1.16), (5.682,1.095,5.907,1.16), (5.842,1.095,5.907,1.16), (5.842,1.095,5.907,1.16), (5.842,1.095,5.907,1.16), (5.842,1.095,6.045,1.16), (5.98,1.095,6.045,1.16), (5.98,1.095,6.092,1.16), (6.027,1.095,6.092,1.16), (6.027,1.095,6.26,1.16), (6.195,1.095,6.26,1.16), (6.195,1.095,6.26,1.16), (6.195,1.095,6.33,1.16), (6.265,1.095,6.397,1.16), (6.332,1.095,6.397,1.16), (6.332,1.095,6.542,1.16), (6.477,1.095,6.542,1.195), (7.715,1.117,7.78,1.182), (7.715,1.117,7.85,1.182), (7.715,1.117,7.78,1.195), (7.785,1.117,7.935,1.182), (7.87,1.117,7.935,1.182), (7.87,1.117,8.072,1.182), (8.007,1.117,8.072,1.182), (8.007,1.117,8.16,1.182), (0.57,1.13,0.635,1.35), (2.47,1.13,2.535,1.35), (2.855,1.13,2.92,1.35), (3.045,1.13,3.162,1.195), (3.097,1.13,3.162,1.195), (3.097,1.13,3.3,1.195), (3.235,1.13,3.3,1.195), (3.235,1.13,3.3,1.195), (3.235,1.13,3.3,1.195), (3.235,1.13,3.485,1.195), (3.42,1.13,3.675,1.195), (3.61,1.13,3.675,1.195), (3.61,1.13,3.675,1.195), (3.61,1.13,3.675,1.195), (3.61,1.13,3.835,1.195), (3.77,1.13,3.835,1.195), (3.77,1.13,3.835,1.195), (3.77,1.13,3.905,1.195), (3.84,1.13,3.975,1.195), (3.91,1.13,3.975,1.195), (3.91,1.13,4.112,1.195), (4.047,1.13,4.112,1.195), (4.047,1.13,4.112,1.195), (4.047,1.13,4.112,1.195), (4.047,1.13,4.25,1.195), (4.187,1.13,4.252,1.195), (4.187,1.13,4.252,1.195), (4.187,1.13,4.452,1.195), (4.387,1.13,4.452,1.195), (4.387,1.13,4.59,1.195), (4.525,1.13,4.59,1.195), (4.525,1.13,4.59,1.195), (4.525,1.13,4.66,1.195), (4.595,1.13,4.78,1.195), (4.715,1.13,4.78,1.195), (4.715,1.13,4.965,1.195), (4.9,1.13,4.965,1.195), (4.9,1.13,4.965,1.195), (6.477,1.13,6.542,1.195), (6.477,1.13,6.542,1.195), (6.477,1.13,6.68,1.195), (6.615,1.13,6.68,1.195), (6.615,1.13,6.68,1.195), (6.615,1.13,6.68,1.195), (6.615,1.13,6.872,1.195), (6.807,1.13,6.872,1.195), (6.807,1.13,6.872,1.195), (6.807,1.13,6.872,1.195), (6.807,1.13,7.06,1.195), (6.995,1.13,7.197,1.195), (7.132,1.13,7.197,1.195), (7.132,1.13,7.197,1.195), (7.132,1.13,7.197,1.195), (7.132,1.13,7.44,1.195), (7.375,1.13,7.44,1.195), (7.375,1.13,7.44,1.195), (7.375,1.13,7.577,1.195), (7.512,1.13,7.577,1.195), (7.512,1.13,7.577,1.195), (7.512,1.13,7.577,1.195), (7.512,1.13,7.78,1.195), (10.14,1.13,10.205,1.35), (0.23,1.267,0.295,1.35), (0,1.285,10.25,1.4)])
A(complex110, L18_0, 6.187, 0.767, 0.065, 0.065, 3, 1, 0.145, 0)
A(complex110, L18_0, 0.955, 1.06, 0.065, 0.135, 4, 1, 0.38, 0)
A(complex110, L18_0, 0.955, 1.13, 0.065, 0.22, 4, 1, 0.38, 0)
R(complex110, L18_0, [(0,0,10.25,0.115), (0.795,0.05,0.86,0.115), (0.795,0.05,0.86,0.115), (0.795,0.05,0.86,0.255), (4.525,0.05,4.59,0.115), (4.525,0.05,4.59,0.115), (4.525,0.05,4.59,0.115), (4.525,0.05,4.59,0.285), (6.795,0.05,6.86,0.115), (6.795,0.05,6.86,0.115), (6.795,0.05,6.86,0.115), (6.795,0.05,6.86,0.245), (8.85,0.05,8.915,0.315), (10.152,0.05,10.217,0.115), (10.152,0.05,10.217,0.115), (10.152,0.05,10.217,0.115), (10.152,0.05,10.217,0.115), (10.152,0.05,10.217,0.115), (10.152,0.05,10.217,0.115), (10.152,0.05,10.217,0.115), (10.152,0.05,10.217,0.115), (10.152,0.05,10.217,0.705), (6.795,0.18,6.86,0.315), (6.795,0.18,6.86,0.245), (0.725,0.19,0.86,0.395), (4.525,0.22,4.59,0.355), (4.525,0.22,4.59,0.285), (8.85,0.25,8.915,0.525), (8.85,0.25,8.915,0.315), (8.85,0.25,8.915,0.315), (8.85,0.25,8.915,0.315), (8.85,0.25,8.915,0.315), (5.202,0.632,5.282,0.767), (9.955,0.64,10.032,0.817), (10.14,0.64,10.217,0.775), (5.217,0.667,5.282,0.732), (3.152,0.682,3.232,0.817), (8.015,0.682,8.082,0.835), (7.082,0.705,7.217,0.782), (3.167,0.717,3.232,0.782), (7.117,0.717,7.182,0.782), (8.017,0.717,8.082,0.782), (9.132,0.717,9.267,0.795), (9.167,0.717,9.232,0.782), (9.967,0.717,10.032,0.782), (8.545,0.735,8.68,0.8), (8.615,0.735,8.68,0.8), (8.615,0.735,8.68,0.8), (8.615,0.735,8.817,0.8), (8.752,0.735,8.817,0.8), (8.752,0.735,8.965,0.8), (8.9,0.735,8.965,0.8), (8.9,0.735,8.965,0.8), (8.9,0.735,9.035,0.8), (9.955,0.752,10.02,0.985), (2.532,0.755,2.667,0.832), (0.132,0.767,0.267,0.845), (0.167,0.767,0.232,0.832), (1.025,0.767,1.16,0.832), (1.095,0.767,1.16,0.832), (1.095,0.767,1.16,0.832), (1.095,0.767,1.31,0.832), (1.245,0.767,1.31,0.832), (1.245,0.767,1.382,0.832), (1.317,0.767,1.382,0.832), (1.317,0.767,1.447,0.832), (1.382,0.767,1.517,0.832), (1.417,0.767,1.482,0.832), (2.567,0.767,2.632,0.832), (3.305,0.767,3.44,0.832), (3.375,0.767,3.44,0.832), (3.375,0.767,3.44,0.832), (3.375,0.767,3.675,0.832), (3.61,0.767,3.675,0.832), (3.61,0.767,3.675,0.832), (3.61,0.767,3.675,0.832), (3.61,0.767,3.812,0.832), (3.747,0.767,3.812,0.832), (3.747,0.767,3.812,0.832), (3.747,0.767,3.812,0.832), (3.747,0.767,3.975,0.832), (3.91,0.767,3.975,0.832), (3.91,0.767,4.112,0.832), (4.047,0.767,4.112,0.832), (4.047,0.767,4.112,0.832), (4.047,0.767,4.112,0.832), (4.047,0.767,4.297,0.832), (4.232,0.767,4.297,0.832), (4.232,0.767,4.297,0.832), (4.232,0.767,4.367,0.832), (4.267,0.767,4.332,0.832), (5.532,0.767,5.667,0.832), (5.567,0.767,5.632,0.832), (5.602,0.767,5.747,0.832), (5.682,0.767,5.747,0.832), (5.682,0.767,5.907,0.832), (5.842,0.767,5.907,0.832), (5.842,0.767,5.907,0.832), (5.842,0.767,5.907,0.832), (5.842,0.767,6.045,0.832), (5.98,0.767,6.045,0.832), (5.98,0.767,6.092,0.832), (6.027,0.767,6.092,0.832), (6.027,0.767,6.182,0.832), (6.117,0.767,6.252,0.832), (6.187,0.767,6.252,0.832), (6.187,0.767,6.397,0.832), (6.332,0.767,6.542,0.832), (6.477,0.767,6.542,0.832), (6.477,0.767,6.542,0.832), (6.477,0.767,6.68,0.832), (6.615,0.767,6.68,0.832), (6.615,0.767,6.68,0.832), (6.615,0.767,6.68,0.832), (6.615,0.767,6.872,0.832), (6.807,0.767,6.872,0.832), (6.807,0.767,6.915,0.832), (6.85,0.767,6.985,0.832), (9.955,0.92,10.02,1.195), (9.955,0.92,10.02,0.985), (9.955,0.92,10.02,0.985), (10.14,0.92,10.205,1.195), (0.23,1.057,0.295,1.332), (0.57,1.06,0.635,1.195), (2.47,1.06,2.535,1.195), (2.855,1.06,2.92,1.195), (0.57,1.13,0.635,1.35), (2.47,1.13,2.535,1.35), (2.855,1.13,2.92,1.35), (10.14,1.13,10.205,1.35), (0.23,1.267,0.295,1.35), (0,1.285,10.25,1.4)])
R(complex110, boundary, [(0,0,10.25,1.4)])
complex110.add(gdstk.Label('A', (1.45,0.8), layer=11, texttype=0))
complex110.add(gdstk.Label('B', (0.2,0.8), layer=11, texttype=0))
complex110.add(gdstk.Label('C', (2.6,0.8), layer=11, texttype=0))
complex110.add(gdstk.Label('D', (4.3,0.8), layer=11, texttype=0))
complex110.add(gdstk.Label('E', (3.2,0.75), layer=11, texttype=0))
complex110.add(gdstk.Label('F', (8.05,0.75), layer=11, texttype=0))
complex110.add(gdstk.Label('G', (9.2,0.75), layer=11, texttype=0))
complex110.add(gdstk.Label('H', (5.6,0.8), layer=11, texttype=0))
complex110.add(gdstk.Label('I', (5.25,0.7), layer=11, texttype=0))
complex110.add(gdstk.Label('J', (7.15,0.75), layer=11, texttype=0))
complex110.add(gdstk.Label('Y', (10,0.75), layer=11, texttype=0))
complex110.add(gdstk.Label('VCC', (0,1.4), layer=11, texttype=0))
complex110.add(gdstk.Label('GND', (0,0), layer=11, texttype=0))

lib.write_gds('COMPLEX110.gds')
